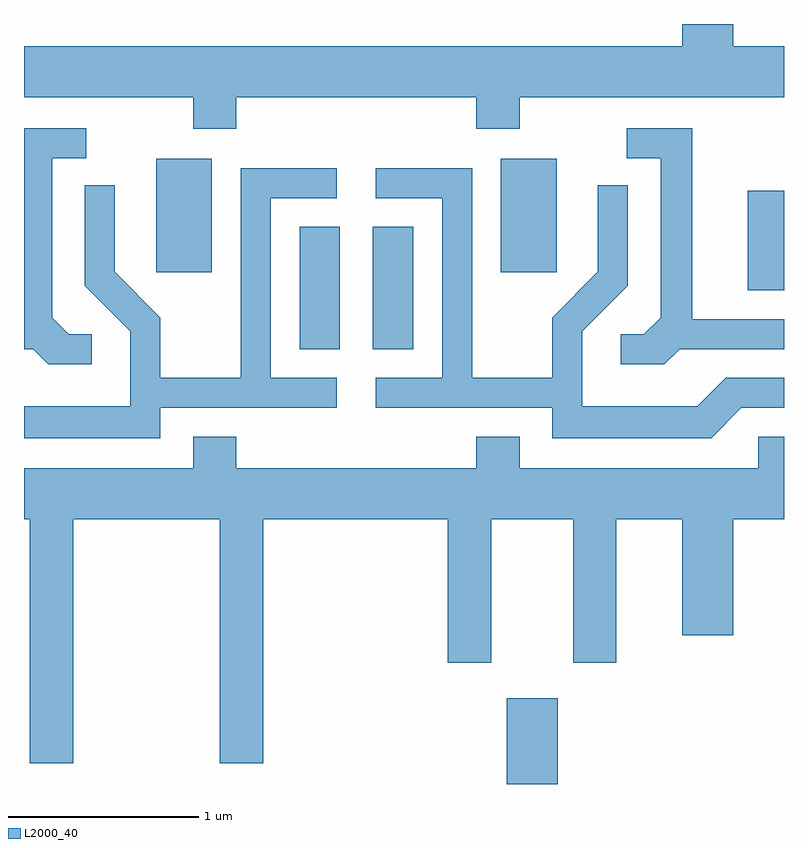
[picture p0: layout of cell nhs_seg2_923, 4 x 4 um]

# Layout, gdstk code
import gdstk
lib = gdstk.Library(unit=1e-6, precision=1e-09)
def R(c, l, rs):  # rectangles x0, y0, x1, y1
    for r in rs: c.add(gdstk.rectangle(r[:2], r[2:], *l))
def P(c, l, *ps):  # polygons
    for p in ps: c.add(gdstk.Polygon(p, *l))
L2000_40 = (2000, 40)

nhs_seg2_923 = lib.new_cell('nhs_seg2_923')
R(nhs_seg2_923, L2000_40, [(214.151,1055.802,214.419,1056.254), (213.061,1058.091,213.274,1058.734), (213.446,1058.091,213.659,1058.734), (215.421,1058.401,215.611,1058.924), (212.306,1058.496,212.599,1059.094), (214.121,1058.496,214.414,1059.094)])
P(nhs_seg2_923, L2000_40, [(212.729,1059.416),(213.991,1059.416),(213.991,1059.251),(214.219,1059.251),(214.219,1059.416),(215.611,1059.416),(215.611,1059.684),(215.344,1059.684),(215.344,1059.802),(215.076,1059.802),(215.076,1059.684),(211.611,1059.684),(211.611,1059.416),(212.501,1059.416),(212.501,1059.251),(212.729,1059.251)],
  [(211.968,1058.169),(211.847,1058.169),(211.759,1058.257),(211.759,1059.096),(211.938,1059.096),(211.938,1059.254),(211.611,1059.254),(211.611,1058.091),(211.659,1058.091),(211.739,1058.011),(211.968,1058.011)],
  [(215.062,1058.091),(215.611,1058.091),(215.611,1058.249),(215.129,1058.249),(215.129,1059.254),(214.783,1059.254),(214.783,1059.096),(214.961,1059.096),(214.961,1058.257),(214.874,1058.169),(214.753,1058.169),(214.753,1058.011),(214.982,1058.011)],
  [(212.329,1057.781),(213.258,1057.781),(213.258,1057.939),(212.909,1057.939),(212.909,1058.886),(213.258,1058.886),(213.258,1059.044),(212.751,1059.044),(212.751,1057.939),(212.329,1057.939),(212.329,1058.257),(212.089,1058.497),(212.089,1058.953),(211.931,1058.953),(211.931,1058.424),(212.171,1058.184),(212.171,1057.789),(211.611,1057.789),(211.611,1057.621),(212.329,1057.621)],
  [(215.387,1057.781),(215.611,1057.781),(215.611,1057.939),(215.304,1057.939),(215.154,1057.789),(214.549,1057.789),(214.549,1058.184),(214.789,1058.424),(214.789,1058.953),(214.631,1058.953),(214.631,1058.497),(214.391,1058.257),(214.391,1057.939),(213.969,1057.939),(213.969,1059.044),(213.463,1059.044),(213.463,1058.886),(213.811,1058.886),(213.811,1057.939),(213.463,1057.939),(213.463,1057.781),(214.391,1057.781),(214.391,1057.621),(215.227,1057.621)],
  [(211.869,1057.196),(212.641,1057.196),(212.641,1055.911),(212.869,1055.911),(212.869,1057.196),(213.841,1057.196),(213.841,1056.441),(214.069,1056.441),(214.069,1057.196),(214.501,1057.196),(214.501,1056.441),(214.729,1056.441),(214.729,1057.196),(215.076,1057.196),(215.076,1056.586),(215.344,1056.586),(215.344,1057.196),(215.611,1057.196),(215.611,1057.629),(215.476,1057.629),(215.476,1057.464),(214.219,1057.464),(214.219,1057.629),(213.991,1057.629),(213.991,1057.464),(212.729,1057.464),(212.729,1057.629),(212.501,1057.629),(212.501,1057.464),(211.611,1057.464),(211.611,1057.196),(211.641,1057.196),(211.641,1055.911),(211.869,1055.911)])

lib.write_gds('nhs_seg2_923.gds')
